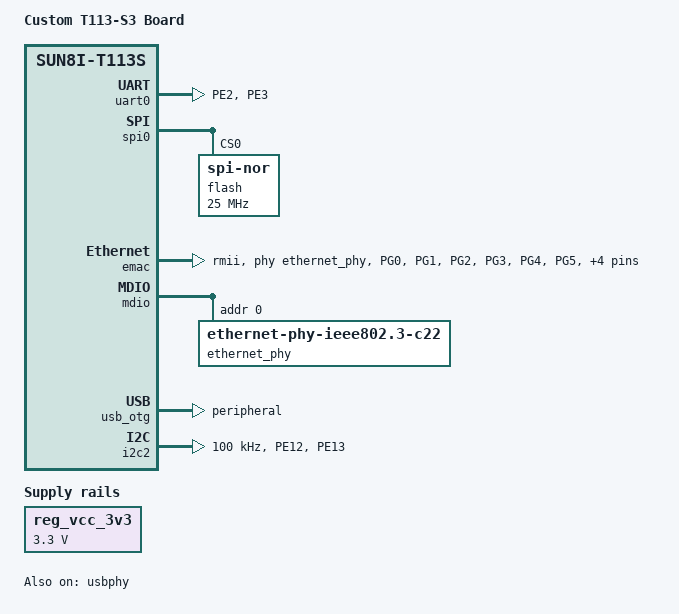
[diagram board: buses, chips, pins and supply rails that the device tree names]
// SPDX-License-Identifier: (GPL-2.0+ OR MIT)

/dts-v1/;

#include <dt-bindings/gpio/gpio.h>

#include "sun8i-t113s.dtsi"

/ {
	model = "Custom T113-S3 Board";
	compatible = "custom,t113s3-board",
		     "allwinner,sun8i-t113s";

	aliases {
		serial0 = &uart0;
		ethernet0 = &emac;
		spi0 = &spi0;
		i2c2 = &i2c2;
	};

	chosen {
		stdout-path = "serial0:115200n8";
	};

	reg_vcc_3v3: regulator-vcc-3v3 {
		compatible = "regulator-fixed";
		regulator-name = "vcc-3v3";
		regulator-min-microvolt = <3300000>;
		regulator-max-microvolt = <3300000>;
		regulator-boot-on;
		regulator-always-on;
	};
};

&dcxo {
	clock-frequency = <24000000>;
};

&pio {
	vcc-pc-supply = <&reg_vcc_3v3>;
	vcc-pe-supply = <&reg_vcc_3v3>;
	vcc-pg-supply = <&reg_vcc_3v3>;

	uart0_pe_pins: uart0-pe-pins {
		pins = "PE2", "PE3";
		function = "uart0";
	};

	rmii_pg_pins: rmii-pg-pins {
		pins = "PG0", "PG1", "PG2", "PG3",
		       "PG4", "PG5",
		       "PG12", "PG13", "PG14", "PG15";
		function = "emac";
	};

	i2c2_pe_pins: i2c2-pe-pins {
		pins = "PE12", "PE13";
		function = "i2c2";
	};
};

&uart0 {
	pinctrl-names = "default";
	pinctrl-0 = <&uart0_pe_pins>;
	status = "okay";
};

&spi0 {
	pinctrl-names = "default";
	pinctrl-0 = <&spi0_pins>;
	status = "okay";

	flash@0 {
		compatible = "jedec,spi-nor";
		reg = <0>;

		spi-max-frequency = <25000000>;
		spi-tx-bus-width = <1>;
		spi-rx-bus-width = <1>;
	};
};

&emac {
	pinctrl-names = "default";
	pinctrl-0 = <&rmii_pg_pins>;

	phy-mode = "rmii";
	phy-handle = <&ethernet_phy>;

	status = "okay";
};

&mdio {
	ethernet_phy: ethernet-phy@0 {
		compatible = "ethernet-phy-ieee802.3-c22";

		reg = <0>;

		max-speed = <100>;
	};
};

&usb_otg {
	dr_mode = "peripheral";
	status = "okay";
};

&usbphy {
	status = "okay";
};

&i2c2 {
	pinctrl-names = "default";
	pinctrl-0 = <&i2c2_pe_pins>;
	clock-frequency = <100000>;
	status = "okay";
};
